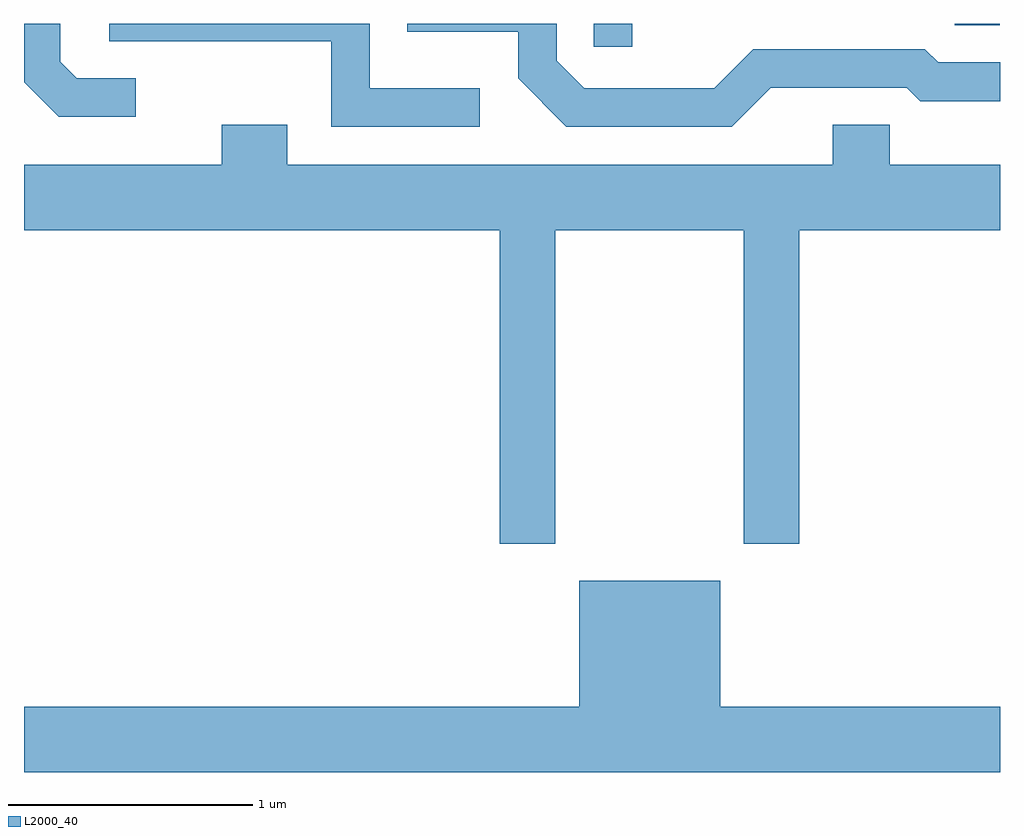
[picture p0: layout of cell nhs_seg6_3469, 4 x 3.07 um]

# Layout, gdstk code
import gdstk
lib = gdstk.Library(unit=1e-6, precision=1e-09)
def R(c, l, rs):  # rectangles x0, y0, x1, y1
    for r in rs: c.add(gdstk.rectangle(r[:2], r[2:], *l))
def P(c, l, *ps):  # polygons
    for p in ps: c.add(gdstk.Polygon(p, *l))
L2000_40 = (2000, 40)

nhs_seg6_3469 = lib.new_cell('nhs_seg6_3469')
R(nhs_seg6_3469, L2000_40, [(291.946,1604.068,292.104,1604.162), (293.426,1604.156,293.609,1604.162)])
P(nhs_seg6_3469, L2000_40, [(292.672,1603.901),(293.229,1603.901),(293.284,1603.846),(293.611,1603.846),(293.611,1604.004),(293.357,1604.004),(293.302,1604.059),(292.599,1604.059),(292.439,1603.899),(291.907,1603.899),(291.794,1604.012),(291.794,1604.162),(291.181,1604.162),(291.181,1604.131),(291.636,1604.131),(291.636,1603.939),(291.834,1603.741),(292.512,1603.741)],
  [(291.478,1603.899),(291.029,1603.899),(291.029,1604.162),(289.961,1604.162),(289.961,1604.091),(290.871,1604.091),(290.871,1603.741),(291.478,1603.741)],
  [(290.068,1603.939),(289.827,1603.939),(289.759,1604.007),(289.759,1604.162),(289.611,1604.162),(289.611,1603.924),(289.754,1603.781),(290.068,1603.781)],
  [(291.789,1603.316),(292.561,1603.316),(292.561,1602.031),(292.789,1602.031),(292.789,1603.316),(293.611,1603.316),(293.611,1603.584),(293.159,1603.584),(293.159,1603.749),(292.926,1603.749),(292.926,1603.584),(290.689,1603.584),(290.689,1603.749),(290.421,1603.749),(290.421,1603.584),(289.611,1603.584),(289.611,1603.316),(291.561,1603.316),(291.561,1602.031),(291.789,1602.031)],
  [(293.611,1601.364),(292.464,1601.364),(292.464,1601.879),(291.886,1601.879),(291.886,1601.364),(289.611,1601.364),(289.611,1601.096),(293.611,1601.096)])

lib.write_gds('nhs_seg6_3469.gds')
